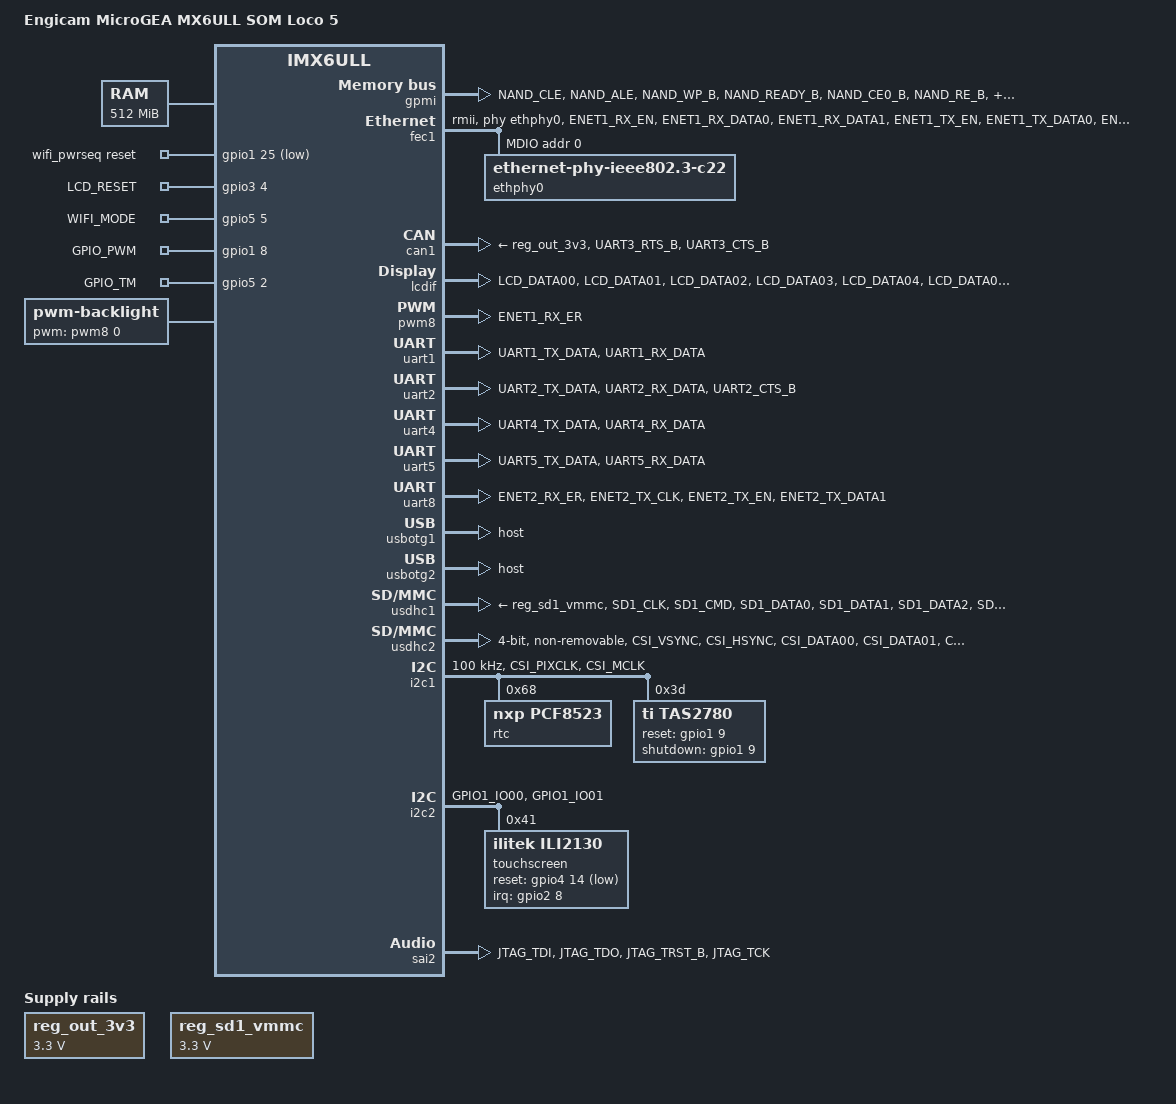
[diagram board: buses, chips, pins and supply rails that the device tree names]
/*
 * Copyright (C) 2016 Freescale Semiconductor, Inc.
 * Copyright 2017 NXP
 *
 * This program is free software; you can redistribute it and/or modify
 * it under the terms of the GNU General Public License version 2 as
 * published by the Free Software Foundation.
 */

/dts-v1/;

#include <dt-bindings/input/input.h>
#include "imx6ull.dtsi"

/ {
	model = "Engicam MicroGEA MX6ULL SOM Loco 5";
	compatible = "fsl,imx6ull";

	chosen {
		stdout-path = &uart1;
	};

	memory {
		reg = <0x80000000 0x20000000>;
	};

	reserved-memory {
		#address-cells = <1>;
		#size-cells = <1>;
		ranges;

		linux,cma {
			compatible = "shared-dma-pool";
			reusable;
			size = <0x4000000>;
			linux,cma-default;
		};
	};

	regulators {
		compatible = "simple-bus";
		#address-cells = <1>;
		#size-cells = <0>;

		reg_out_3v3: regulator@0 {
			compatible = "regulator-fixed";
			reg = <0>;
			regulator-name = "out-3v3";
			regulator-min-microvolt = <3300000>;
			regulator-max-microvolt = <3300000>;
		};

		reg_sd1_vmmc: regulator@1 {
			compatible = "regulator-fixed";
			regulator-name = "SD1_MMC";
			regulator-min-microvolt = <3300000>;
			regulator-max-microvolt = <3300000>;
		};
	};

	wifi_pwrseq: wifi_pwrseq {
		compatible = "mmc-pwrseq-simple";
		reset-gpios = <&gpio1 25 GPIO_ACTIVE_LOW>;
	};

	gpio_export {
		compatible = "gpio-export";
		#size-cells = <0>;

		LCD_RESET {
			gpio-export,name = "LCD_RESET";
			gpio-export,output = <1>;
			gpios = <&gpio3 4 0>;
		};

		WIFI_MODE {
			gpio-export,name = "WIFI_MODE";
			gpio-export,output = <1>;
			gpios = <&gpio5 5 0>;
		};

		GPIO_PWM {
			gpio-export,name = "GPIO_PWM";
			gpio-export,output = <0>;
			gpios = <&gpio1 8 0>;
		};

		GPIO_TM {
			gpio-export,name = "GPIO_TM";
			gpio-export,output = <0>;
			gpios = <&gpio5 2 0>;
		};
	};

	backlight {
		compatible = "pwm-backlight";
		pwms = <&pwm8 0 100000>;
		brightness-levels = < 0  1  2  3  4  5  6  7  8  9
					10 11 12 13 14 15 16 17 18 19
					20 21 22 23 24 25 26 27 28 29
					30 31 32 33 34 35 36 37 38 39
					40 41 42 43 44 45 46 47 48 49
					50 51 52 53 54 55 56 57 58 59
					60 61 62 63 64 65 66 67 68 69
					70 71 72 73 74 75 76 77 78 79
					80 81 82 83 84 85 86 87 88 89
					90 91 92 93 94 95 96 97 98 99
					100>;
		default-brightness-level = <100>;
		status = "okay";
	};

	sound {
		compatible = "simple-audio-card";
		simple-audio-card,name = "tas2780-audio";
		simple-audio-card,format = "i2s";
		simple-audio-card,bitclock-master = <&dailink_master1>;
		simple-audio-card,frame-master = <&dailink_master1>;

		dailink_master1: simple-audio-card,cpu {
			sound-dai = <&sai2>;
		};

		simple-audio-card,codec {
			sound-dai = <&tas2780>;
		};
	};
};

&gpmi {
	pinctrl-names = "default";
	pinctrl-0 = <&pinctrl_gpmi_nand_1>;
	status = "okay";
	nand-on-flash-bbt;
	fsl,use-minimum-ecc;
};

&clks {
	assigned-clocks = <&clks IMX6UL_CLK_PLL4_AUDIO_DIV>;
	assigned-clock-rates = <786432000>;
};

&cpu0 {
	/*
	 * on i.MX6ULL, no separated VDD_ARM_IN and VDD_SOC_IN,
	 * to align with other platform and use the same cpufreq
	 * driver, still use the separated OPP define for arm
	 * and soc.
	 */
	operating-points = <
		/* kHz	uV */
		792000  1225000
		396000	1175000
		198000	1175000
	>;
	fsl,soc-operating-points = <
		/* KHz	uV */
		792000  1225000
		396000	1175000
		198000	1175000
	>;
	fsl,arm-soc-shared = <1>;
};

&fec1 {
	pinctrl-names = "default";
	pinctrl-0 = <&pinctrl_enet1>;
	phy-mode = "rmii";
	phy-handle = <&ethphy0>;
	status = "okay";

	mdio {
		#address-cells = <1>;
		#size-cells = <0>;

		ethphy0: ethernet-phy@0 {
			compatible = "ethernet-phy-ieee802.3-c22";
			reg = <0>;
		};
	};

};

&can1 {
	pinctrl-names = "default";
	pinctrl-0 = <&pinctrl_flexcan1>;
	xceiver-supply = <&reg_out_3v3>;
	status = "okay";
};

&gpc {
	fsl,cpu_pupscr_sw2iso = <0xf>;
	fsl,cpu_pupscr_sw = <0x0>;
	fsl,cpu_pdnscr_iso2sw = <0x1>;
	fsl,cpu_pdnscr_iso = <0x1>;
	fsl,ldo-bypass = <1>;
};

&lcdif {
	pinctrl-names = "default";
	pinctrl-0 = <&pinctrl_lcdif_dat
		     &pinctrl_lcdif_ctrl>;
	display = <&display0>;
	status = "okay";

	display0: display0 {
		bits-per-pixel = <32>;
		bus-width = <24>;

		display-timings {
                native-mode = <&timing1>;
                timing1: hsd100pxn1 {
                clock-frequency = <25000000>;
                hactive = <800>;
                vactive = <480>;
                hback-porch = <8>;
                hfront-porch = <8>;
                vback-porch = <8>;
                vfront-porch = <8>;
                hsync-len = <4>;
                vsync-len = <4>;
                hsync-active = <0>;
                vsync-active = <0>;
                de-active = <1>;
                pixelclk-active = <0>;
                };
        };
	};
};

&pwm8 {
	pinctrl-names = "default";
	pinctrl-0 = <&pinctrl_pwm8>;
	status = "okay";
  	#pwm-cells = <2>;
};

&iomuxc {
	pinctrl-names = "default";
	pinctrl-0 = <&pinctrl_hog_1>;
	imx6ul-evk {

		pinctrl_lcdif_dat: lcdifdatgrp {
			fsl,pins = <
				MX6UL_PAD_LCD_DATA00__LCDIF_DATA00  0x79
				MX6UL_PAD_LCD_DATA01__LCDIF_DATA01  0x79
				MX6UL_PAD_LCD_DATA02__LCDIF_DATA02  0x79
				MX6UL_PAD_LCD_DATA03__LCDIF_DATA03  0x79
				MX6UL_PAD_LCD_DATA04__LCDIF_DATA04  0x79
				MX6UL_PAD_LCD_DATA05__LCDIF_DATA05  0x79
				MX6UL_PAD_LCD_DATA06__LCDIF_DATA06  0x79
				MX6UL_PAD_LCD_DATA07__LCDIF_DATA07  0x79
				MX6UL_PAD_LCD_DATA08__LCDIF_DATA08  0x79
				MX6UL_PAD_LCD_DATA09__LCDIF_DATA09  0x79
				MX6UL_PAD_LCD_DATA10__LCDIF_DATA10  0x79
				MX6UL_PAD_LCD_DATA11__LCDIF_DATA11  0x79
				MX6UL_PAD_LCD_DATA12__LCDIF_DATA12  0x79
				MX6UL_PAD_LCD_DATA13__LCDIF_DATA13  0x79
				MX6UL_PAD_LCD_DATA14__LCDIF_DATA14  0x79
				MX6UL_PAD_LCD_DATA15__LCDIF_DATA15  0x79
				MX6UL_PAD_LCD_DATA16__LCDIF_DATA16  0x79
				MX6UL_PAD_LCD_DATA17__LCDIF_DATA17  0x79
				MX6UL_PAD_LCD_DATA18__LCDIF_DATA18  0x79
				MX6UL_PAD_LCD_DATA19__LCDIF_DATA19  0x79
				MX6UL_PAD_LCD_DATA20__LCDIF_DATA20  0x79
				MX6UL_PAD_LCD_DATA21__LCDIF_DATA21  0x79
				MX6UL_PAD_LCD_DATA22__LCDIF_DATA22  0x79
				MX6UL_PAD_LCD_DATA23__LCDIF_DATA23  0x79
			>;
  		};

  		pinctrl_lcdif_ctrl: lcdifctrlgrp {
  			fsl,pins = <
  				MX6UL_PAD_LCD_CLK__LCDIF_CLK	    0x79
  				MX6UL_PAD_LCD_ENABLE__LCDIF_ENABLE  0x79
  				MX6UL_PAD_LCD_HSYNC__LCDIF_HSYNC    0x79
  				MX6UL_PAD_LCD_VSYNC__LCDIF_VSYNC    0x79
  			>;
  		};

  		pinctrl_pwm8: pwm8grp {
  			fsl,pins = <
  				MX6UL_PAD_ENET1_RX_ER__PWM8_OUT   0x110b0
  			>;
		};

		pinctrl_hog_1: hoggrp-1 {
			fsl,pins = <
				MX6UL_PAD_LCD_RESET__GPIO3_IO04		0x1b0b0 /* LCD_RESET */
				MX6UL_PAD_GPIO1_IO08__GPIO1_IO08	0x1b0b0 /* GPIO_PWM */
				MX6UL_PAD_SNVS_TAMPER2__GPIO5_IO02	0x1b0b0 /* GPIO_TM */
			>;
		};

		pinctrl_enet1: enet1grp {
			fsl,pins = <
				MX6UL_PAD_ENET1_RX_EN__ENET1_RX_EN	0x1b0b0
				MX6UL_PAD_ENET1_RX_DATA0__ENET1_RDATA00	0x1b0b0
				MX6UL_PAD_ENET1_RX_DATA1__ENET1_RDATA01	0x1b0b0
				MX6UL_PAD_ENET1_TX_EN__ENET1_TX_EN	0x1b0b0
				MX6UL_PAD_ENET1_TX_DATA0__ENET1_TDATA00	0x1b0b0
				MX6UL_PAD_ENET1_TX_DATA1__ENET1_TDATA01	0x1b0b0
				MX6UL_PAD_ENET1_TX_CLK__ENET1_REF_CLK1	0x4001b031
				MX6UL_PAD_GPIO1_IO07__ENET1_MDC		0x1b0b0
				MX6UL_PAD_GPIO1_IO06__ENET1_MDIO	0x1b0b0
			>;
		};

		pinctrl_flexcan1: flexcan1grp{
			fsl,pins = <
				MX6UL_PAD_UART3_RTS_B__FLEXCAN1_RX	0x1b020
				MX6UL_PAD_UART3_CTS_B__FLEXCAN1_TX	0x1b020
			>;
		};


		pinctrl_flexcan2: flexcan2grp{
			fsl,pins = <
				MX6UL_PAD_UART2_RTS_B__FLEXCAN2_RX	0x1b020
				MX6UL_PAD_UART2_CTS_B__FLEXCAN2_TX	0x1b020
			>;
		};


		pinctrl_gpmi_nand_1: gpmi-nand-1 {
			fsl,pins = <
				MX6UL_PAD_NAND_CLE__RAWNAND_CLE         0xb0b1
				MX6UL_PAD_NAND_ALE__RAWNAND_ALE         0xb0b1
				MX6UL_PAD_NAND_WP_B__RAWNAND_WP_B       0xb0b1
				MX6UL_PAD_NAND_READY_B__RAWNAND_READY_B 0xb000
				MX6UL_PAD_NAND_CE0_B__RAWNAND_CE0_B     0xb0b1
				MX6UL_PAD_NAND_RE_B__RAWNAND_RE_B       0xb0b1
				MX6UL_PAD_NAND_WE_B__RAWNAND_WE_B       0xb0b1
				MX6UL_PAD_NAND_DATA00__RAWNAND_DATA00   0xb0b1
				MX6UL_PAD_NAND_DATA01__RAWNAND_DATA01   0xb0b1
				MX6UL_PAD_NAND_DATA02__RAWNAND_DATA02   0xb0b1
				MX6UL_PAD_NAND_DATA03__RAWNAND_DATA03   0xb0b1
				MX6UL_PAD_NAND_DATA04__RAWNAND_DATA04   0xb0b1
				MX6UL_PAD_NAND_DATA05__RAWNAND_DATA05   0xb0b1
				MX6UL_PAD_NAND_DATA06__RAWNAND_DATA06   0xb0b1
				MX6UL_PAD_NAND_DATA07__RAWNAND_DATA07   0xb0b1
			>;
		};

		pinctrl_uart1: uart1grp {
			fsl,pins = <
				MX6UL_PAD_UART1_TX_DATA__UART1_DCE_TX 0x1b0b1
				MX6UL_PAD_UART1_RX_DATA__UART1_DCE_RX 0x1b0b1
			>;
		};

		pinctrl_uart2: uart2grp {
			fsl,pins = <
				MX6UL_PAD_UART2_TX_DATA__UART2_DCE_TX	0x1b0b1
				MX6UL_PAD_UART2_RX_DATA__UART2_DCE_RX	0x1b0b1
				MX6UL_PAD_UART2_CTS_B__UART2_DCE_CTS	0x1b0b1
			>;
		};

		pinctrl_uart4: uart4grp {
			fsl,pins = <
				MX6UL_PAD_UART4_TX_DATA__UART4_DCE_TX 0x1b0b1
				MX6UL_PAD_UART4_RX_DATA__UART4_DCE_RX 0x1b0b1
			>;
		};

		pinctrl_uart5: uart5grp {
			fsl,pins = <
				MX6UL_PAD_UART5_TX_DATA__UART5_DCE_TX 0x1b0b1
				MX6UL_PAD_UART5_RX_DATA__UART5_DCE_RX 0x1b0b1
			>;
		};

		pinctrl_uart8: uart8grp {
				fsl,pins = <
				MX6UL_PAD_ENET2_RX_ER__UART8_DCE_RTS	0x1b0b1
				MX6UL_PAD_ENET2_TX_CLK__UART8_DCE_CTS	0x1b0b1
				MX6UL_PAD_ENET2_TX_EN__UART8_DCE_RX		0x1b0b1
				MX6UL_PAD_ENET2_TX_DATA1__UART8_DCE_TX	0x1b0b1
			>;
		};

		pinctrl_usdhc1: usdhc1grp {
			fsl,pins = <
				MX6UL_PAD_SD1_CLK__USDHC1_CLK     0x10059
				MX6UL_PAD_SD1_CMD__USDHC1_CMD     0x17059
				MX6UL_PAD_SD1_DATA0__USDHC1_DATA0 0x17059
				MX6UL_PAD_SD1_DATA1__USDHC1_DATA1 0x17059
				MX6UL_PAD_SD1_DATA2__USDHC1_DATA2 0x17059
				MX6UL_PAD_SD1_DATA3__USDHC1_DATA3 0x17059
				MX6UL_PAD_UART1_RTS_B__GPIO1_IO19 0x17059

			>;
		};

		pinctrl_panasonic: panasonicdgrp {
			fsl,pins = <
				MX6UL_PAD_UART3_RX_DATA__GPIO1_IO25	0x41 /* WL_REG_ON */
				MX6UL_PAD_SNVS_TAMPER5__GPIO5_IO05  0x41 /* WIFI_MODE */
			>;
		};

		pinctrl_usdhc2: usdhc2grp {
			fsl,pins = <
				MX6UL_PAD_CSI_VSYNC__USDHC2_CLK     0x10051
				MX6UL_PAD_CSI_HSYNC__USDHC2_CMD     0x17058
				MX6UL_PAD_CSI_DATA00__USDHC2_DATA0  0x17058
				MX6UL_PAD_CSI_DATA01__USDHC2_DATA1  0x17058
				MX6UL_PAD_CSI_DATA02__USDHC2_DATA2  0x17058
				MX6UL_PAD_CSI_DATA03__USDHC2_DATA3  0x17058
			>;
		};


		pinctrl_i2c1: i2c1grp {
			fsl,pins = <
				MX6UL_PAD_CSI_PIXCLK__I2C1_SCL 0x4001b8b0
				MX6UL_PAD_CSI_MCLK__I2C1_SDA 0x4001b8b0
			>;
		};

		pinctrl_i2c2: i2c2grp {
			fsl,pins = <
				MX6UL_PAD_GPIO1_IO00__I2C2_SCL 0x4001b8b0
				MX6UL_PAD_GPIO1_IO01__I2C2_SDA 0x4001b8b0
			>;
		};

		pinctrl_ecspi: ecspigrp {
			fsl,pins = <
				MX6UL_PAD_CSI_DATA04__ECSPI1_SCLK      	0x70a1
				MX6UL_PAD_CSI_DATA05__ECSPI1_SS0 	0x70a1
				MX6UL_PAD_CSI_DATA06__ECSPI1_MOSI   	0x70a1
				MX6UL_PAD_CSI_DATA07__ECSPI1_MISO   	0x70a1
			>;
		};

		pinctrl_sai2: sai2grp {
			fsl,pins = <
				MX6UL_PAD_JTAG_TDI__SAI2_TX_BCLK	0x17088
				MX6UL_PAD_JTAG_TDO__SAI2_TX_SYNC	0x17088
				MX6UL_PAD_JTAG_TRST_B__SAI2_TX_DATA	0x11088
				MX6UL_PAD_JTAG_TCK__SAI2_RX_DATA	0x11088
			>;
		};

		pinctrl_tas2780: tas2780grp {
			fsl,pins = <
				MX6UL_PAD_GPIO1_IO09__GPIO1_IO09	0x1b0b0
			>;
		};

		pinctrl_ilitek: ilitekgrp {
			fsl,pins = <
				MX6UL_PAD_ENET2_RX_DATA0__GPIO2_IO08	0x1b0b0 /* LCD_TP_nINT */
				MX6UL_PAD_NAND_CE1_B__GPIO4_IO14		0x1b0b0 /* LCD_TP_nRST */
			>;
		};

		
	};
};

/* CONSOLE LINUX */
&uart1 {
	pinctrl-names = "default";
	pinctrl-0 = <&pinctrl_uart1>;
	status = "okay";
};

/* RS485 */
&uart2 {
	pinctrl-names = "default";
	pinctrl-0 = <&pinctrl_uart2>;
	fsl,uart-has-rtscts;
	status = "okay";
};

/* SER1_EXT */
&uart4 {
	pinctrl-names = "default";
	pinctrl-0 = <&pinctrl_uart4>;
	status = "okay";
};

/* RS232 */
&uart5 {
	pinctrl-names = "default";
	pinctrl-0 = <&pinctrl_uart5>;
	status = "okay";
};

/* BT */
&uart8 {
	pinctrl-names = "default";
	pinctrl-0 = <&pinctrl_uart8>;
	fsl,uart-has-rtscts;
	status = "okay";
};

/* USB_EXT */
&usbotg1 {
	dr_mode = "host";
	disable-over-current;
	status = "okay";
};

/* USB */
&usbotg2 {
	dr_mode = "host";
	disable-over-current;
	status = "okay";
};

/* SDCARD */
&usdhc1 {
	pinctrl-names = "default";
	pinctrl-0 = <&pinctrl_usdhc1>;
	no-1-8-v;
	cd-gpios = <&gpio1 19 GPIO_ACTIVE_LOW>;
	broken-cd;
	vmmc-supply = <&reg_sd1_vmmc>;
	enable-sdio-wakeup;
	keep-power-in-suspend;
	status = "okay";
};

/* WIFI */
&usdhc2 {
	#address-cells = <1>;
	#size-cells = <0>;
	pinctrl-names = "default";
	pinctrl-0 = <&pinctrl_usdhc2>, <&pinctrl_panasonic>;
	bus-width = <4>;
	no-1-8-v;
	pm-ignore-notify;
	keep-power-in-suspend;
	mmc-pwrseq = <&wifi_pwrseq>;
	non-removable;
	status = "okay";
};

&wdog1 {
	fsl,wdog_b;
};

&i2c1 {
	clock-frequency = <100000>;
	pinctrl-names = "default";
	pinctrl-0 = <&pinctrl_i2c1>;
	status = "okay";

	rtc: pcf8523@68 {
		compatible = "nxp,pcf8523";
		reg = <0x68>;
	};

	tas2780: codec@3d {
		compatible = "ti,tas2780";
		reg = <0x3d>;
		pinctrl-names = "default";
		pinctrl-0 = <&pinctrl_tas2780>;
		#sound-dai-cells = <0>;
		reset-gpios = <&gpio1 9 0>;
		shutdown-gpios = <&gpio1 9 0>;
		ti,imon-slot-no = <0>;
		ti,vmon-slot-no = <2>;
	};
};

&i2c2 {
	clock_frequency = <100000>;
	pinctrl-names = "default";
	pinctrl-0 = <&pinctrl_i2c2>;
	status = "okay";

	touchscreen@41 {
		compatible = "ilitek,ili2130";
		pinctrl-0 = <&pinctrl_ilitek>;
		reg = <0x41>;
		interrupt-parent = <&gpio2>;
		interrupts = <8 IRQ_TYPE_LEVEL_LOW>;
		reset-gpios = <&gpio4 14 GPIO_ACTIVE_LOW>;
		wakeup-source;
	};
};

&sai2 {
	pinctrl-names = "default";
	pinctrl-0 = <&pinctrl_sai2>;
	assigned-clocks = <&clks IMX6UL_CLK_SAI2_SEL>,
			  <&clks IMX6UL_CLK_SAI2>;
	assigned-clock-parents = <&clks IMX6UL_CLK_PLL4_AUDIO_DIV>;
	assigned-clock-rates = <0>, <12288000>;
	fsl,sai-mclk-direction-output;
	status = "okay";
};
